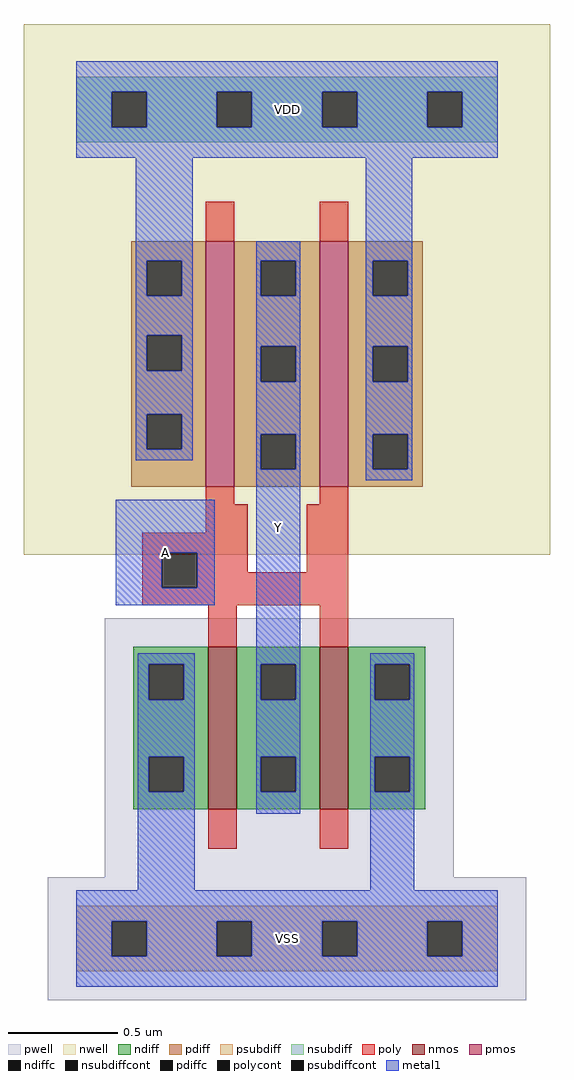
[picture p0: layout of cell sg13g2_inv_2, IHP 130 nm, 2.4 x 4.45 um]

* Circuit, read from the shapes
.subckt sg13g2_inv_2 VSS VDD Y A
XM1 Y A VSS VSS sg13_lv_nmos w=0.74u l=0.13u m=2
XM2 Y A VDD VDD sg13_lv_pmos w=1.12u l=0.13u m=2
.ends

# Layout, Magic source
magic
tech ihp-sg13g2
<< nwell >>
rect -24 175 216 417
<< pwell >>
rect 13 28 172 146
rect -13 -28 205 28
<< nmos >>
rect 60 59 73 133
rect 111 59 124 133
<< pmos >>
rect 59 206 72 318
rect 111 206 124 318
<< ndiff >>
rect 26 125 60 133
rect 26 109 33 125
rect 49 109 60 125
rect 26 83 60 109
rect 26 67 33 83
rect 49 67 60 83
rect 26 59 60 67
rect 73 125 111 133
rect 73 109 84 125
rect 100 109 111 125
rect 73 83 111 109
rect 73 67 84 83
rect 100 67 111 83
rect 73 59 111 67
rect 124 125 159 133
rect 124 109 136 125
rect 152 109 159 125
rect 124 83 159 109
rect 124 67 136 83
rect 152 67 159 83
rect 124 59 159 67
<< pdiff >>
rect 25 309 59 318
rect 25 293 32 309
rect 48 293 59 309
rect 25 275 59 293
rect 25 259 32 275
rect 48 259 59 275
rect 25 239 59 259
rect 25 223 32 239
rect 48 223 59 239
rect 25 206 59 223
rect 72 309 111 318
rect 72 293 84 309
rect 100 293 111 309
rect 72 270 111 293
rect 72 254 84 270
rect 100 254 111 270
rect 72 230 111 254
rect 72 214 84 230
rect 100 214 111 230
rect 72 206 111 214
rect 124 309 158 318
rect 124 293 135 309
rect 151 293 158 309
rect 124 270 158 293
rect 124 254 135 270
rect 151 254 158 270
rect 124 230 158 254
rect 124 214 135 230
rect 151 214 158 230
rect 124 206 158 214
<< ndiffc >>
rect 33 109 49 125
rect 33 67 49 83
rect 84 109 100 125
rect 84 67 100 83
rect 136 109 152 125
rect 136 67 152 83
<< pdiffc >>
rect 32 293 48 309
rect 32 259 48 275
rect 32 223 48 239
rect 84 293 100 309
rect 84 254 100 270
rect 84 214 100 230
rect 135 293 151 309
rect 135 254 151 270
rect 135 214 151 230
<< psubdiff >>
rect 0 8 192 15
rect 0 -8 16 8
rect 32 -8 64 8
rect 80 -8 112 8
rect 128 -8 160 8
rect 176 -8 192 8
rect 0 -15 192 -8
<< nsubdiff >>
rect 0 386 192 393
rect 0 370 16 386
rect 32 370 64 386
rect 80 370 112 386
rect 128 370 160 386
rect 176 370 192 386
rect 0 363 192 370
<< psubdiffcont >>
rect 16 -8 32 8
rect 64 -8 80 8
rect 112 -8 128 8
rect 160 -8 176 8
<< nsubdiffcont >>
rect 16 370 32 386
rect 64 370 80 386
rect 112 370 128 386
rect 160 370 176 386
<< poly >>
rect 59 318 72 336
rect 111 318 124 336
rect 59 198 72 206
rect 111 198 124 206
rect 59 185 78 198
rect 30 176 78 185
rect 30 160 39 176
rect 55 167 78 176
rect 105 167 124 198
rect 55 160 124 167
rect 30 152 124 160
rect 60 133 73 152
rect 111 133 124 152
rect 60 41 73 59
rect 111 41 124 59
<< polycont >>
rect 39 160 55 176
<< metal1 >>
rect 0 386 192 400
rect 0 370 16 386
rect 32 370 64 386
rect 80 370 112 386
rect 128 370 160 386
rect 176 370 192 386
rect 0 356 192 370
rect 27 309 53 356
rect 27 293 32 309
rect 48 293 53 309
rect 27 275 53 293
rect 27 259 32 275
rect 48 259 53 275
rect 27 239 53 259
rect 27 223 32 239
rect 48 223 53 239
rect 27 218 53 223
rect 82 309 102 318
rect 82 293 84 309
rect 100 293 102 309
rect 82 270 102 293
rect 82 254 84 270
rect 100 254 102 270
rect 82 230 102 254
rect 82 214 84 230
rect 100 214 102 230
rect 18 176 63 200
rect 18 160 39 176
rect 55 160 63 176
rect 18 152 63 160
rect 28 125 54 130
rect 28 109 33 125
rect 49 109 54 125
rect 28 83 54 109
rect 28 67 33 83
rect 49 67 54 83
rect 28 22 54 67
rect 82 125 102 214
rect 132 309 153 356
rect 132 293 135 309
rect 151 293 153 309
rect 132 270 153 293
rect 132 254 135 270
rect 151 254 153 270
rect 132 230 153 254
rect 132 214 135 230
rect 151 214 153 230
rect 132 209 153 214
rect 82 109 84 125
rect 100 109 102 125
rect 82 83 102 109
rect 82 67 84 83
rect 100 67 102 83
rect 82 57 102 67
rect 134 125 154 130
rect 134 109 136 125
rect 152 109 154 125
rect 134 83 154 109
rect 134 67 136 83
rect 152 67 154 83
rect 134 22 154 67
rect 0 8 192 22
rect 0 -8 16 8
rect 32 -8 64 8
rect 80 -8 112 8
rect 128 -8 160 8
rect 176 -8 192 8
rect 0 -22 192 -8
<< labels >>
flabel metal1 s 0 -22 192 22 0 FreeSans 200 0 0 0 VSS
port 2 nsew
flabel metal1 s 0 356 192 400 0 FreeSans 200 0 0 0 VDD
port 3 nsew
flabel metal1 s 82 57 102 318 0 FreeSans 200 0 0 0 Y
port 4 nsew
flabel metal1 s 18 152 63 200 0 FreeSans 200 0 0 0 A
port 5 nsew
<< properties >>
string FIXED_BBOX 0 0 192 378
string GDS_END 93350
string GDS_FILE ../gds/controller.gds
string GDS_START 89662
<< end >>
